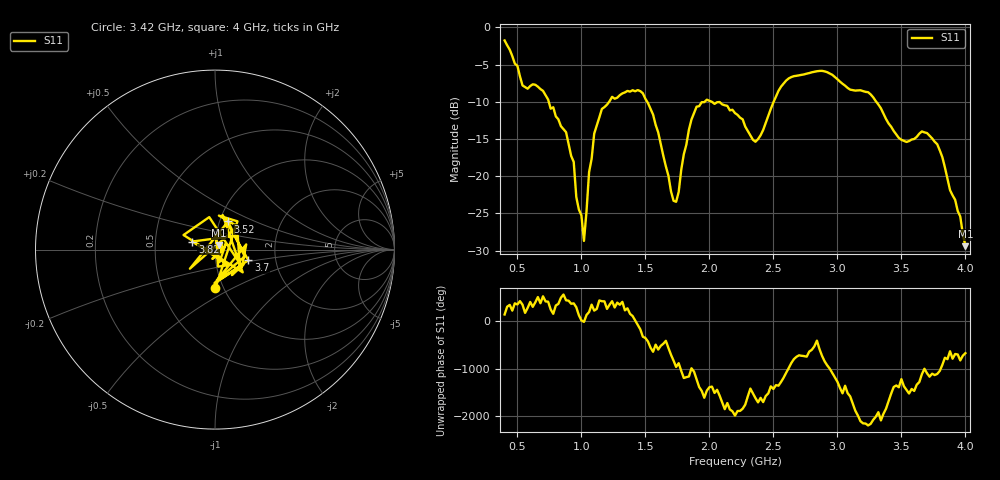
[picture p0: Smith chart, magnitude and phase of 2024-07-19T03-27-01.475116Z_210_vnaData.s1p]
!Created with skrf (http://scikit-rf.org).
# Hz S RI R 50.0
!freq ReS11 ImS11
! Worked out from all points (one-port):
!   181 points, 400 MHz to 4 GHz, reference 50 ohm
!   lowest |S11| = -29.4 dB at 4 GHz (marker M1), VSWR 1.07, Z = 52.3 + j2.6 ohm
!   |S11| at or under -10 dB: 744.9 MHz to 1.217 GHz (471.8 MHz wide, 48.1 % of centre); 2.019 GHz to 2.502 GHz (483.5 MHz wide, 21.4 % of centre); 3.304 GHz to end of sweep (the widest 3 of 4)
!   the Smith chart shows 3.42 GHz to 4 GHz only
!   S11 on the Smith chart (normalised r, x): 3.42 GHz: 0.92, -0.41; 3.52 GHz: 1.10, +0.35; 3.7 GHz: 1.44, -0.18; 3.82 GHz: 0.77, +0.07; 4 GHz: 1.05, +0.05
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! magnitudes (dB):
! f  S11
! 400 MHz  -1.8
! 540 MHz  -7.8
! 700 MHz  -8.5
! 860 MHz  -13.7
! 940 MHz  -18.1
! 960 MHz  -22.8
! 1.02 GHz  -28.7
! 1.06 GHz  -19.4
! 1.1 GHz  -14.3
! 1.16 GHz  -11.0
! 1.3 GHz  -9.1
! 1.48 GHz  -8.9
! 1.6 GHz  -14.1
! 1.72 GHz  -23.3
! 1.76 GHz  -22.1
! 1.84 GHz  -13.7
! 1.9 GHz  -10.7
! 2.2 GHz  -11.5
! 2.36 GHz  -15.4
! 2.66 GHz  -6.6
! 3.1 GHz  -8.4
! 3.26 GHz  -9.0
! 3.42 GHz  -13.4
! 3.52 GHz  -15.3
! 3.56 GHz  -15.3
! 3.7 GHz  -14.2
! 3.82 GHz  -17.4
! 4 GHz  -29.4
